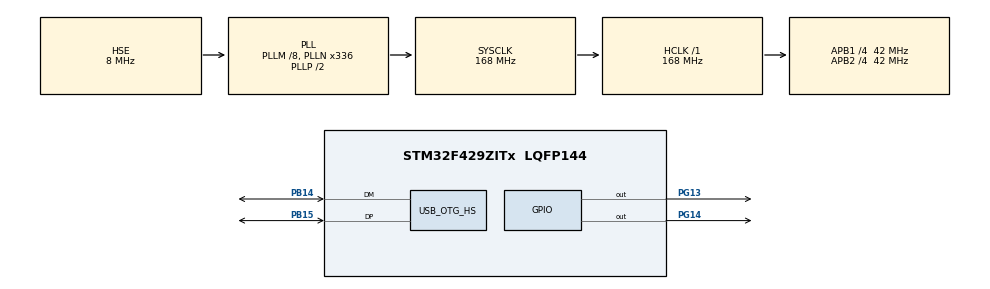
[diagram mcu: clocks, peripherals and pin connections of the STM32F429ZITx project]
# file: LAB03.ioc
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Mcu.Family=STM32F4
Mcu.Name=STM32F429ZITx
Mcu.Package=LQFP144
NVIC.OTG_HS_IRQn=true\:0\:0\:false\:false\:true\:true\:true\:true
NVIC.PriorityGroup=NVIC_PRIORITYGROUP_4
PA13.Mode=Serial_Wire
PA13.Signal=SYS_JTMS-SWDIO
PA14.Mode=Serial_Wire
PA14.Signal=SYS_JTCK-SWCLK
PB14.Mode=Device_Only_FS
PB14.Signal=USB_OTG_HS_DM
PB15.Mode=Device_Only_FS
PB15.Signal=USB_OTG_HS_DP
PG13.GPIO_Speed=GPIO_SPEED_FREQ_HIGH
PG13.Signal=GPIO_Output
PG14.GPIO_Speed=GPIO_SPEED_FREQ_HIGH
PG14.Signal=GPIO_Output
PH0/OSC_IN.Mode=HSE-External-Oscillator
PH0/OSC_IN.Signal=RCC_OSC_IN
PH1/OSC_OUT.Mode=HSE-External-Oscillator
PH1/OSC_OUT.Signal=RCC_OSC_OUT
ProjectManager.HeapSize=0x2000
ProjectManager.StackSize=0x400
ProjectManager.TargetToolchain=STM32CubeIDE
RCC.48MHZClocksFreq_Value=48000000
RCC.AHBFreq_Value=168000000
RCC.APB1CLKDivider=RCC_HCLK_DIV4
RCC.APB1Freq_Value=42000000
RCC.APB1TimFreq_Value=84000000
RCC.APB2CLKDivider=RCC_HCLK_DIV4
RCC.APB2Freq_Value=42000000
RCC.APB2TimFreq_Value=84000000
RCC.CortexFreq_Value=168000000
RCC.HCLKFreq_Value=168000000
RCC.HSE_VALUE=8000000
RCC.HSI_VALUE=16000000
RCC.LSE_VALUE=32768
RCC.PLLM=8
RCC.PLLN=336
RCC.PLLQ=7
RCC.SYSCLKFreq_VALUE=168000000
RCC.SYSCLKSource=RCC_SYSCLKSOURCE_PLLCLK
RCC.VCOOutputFreq_Value=336000000
USB_DEVICE.CLASS_NAME_HS=CDC
USB_DEVICE.VirtualMode-CDC_HS=Cdc
USB_DEVICE.VirtualModeHS=Cdc_HS
USB_OTG_HS.VirtualMode-Device_Only_FS=Device_Only_FS
VP_USB_DEVICE_VS_USB_DEVICE_CDC_HS.Mode=CDC_HS
board=custom

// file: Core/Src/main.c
/* USER CODE BEGIN Header */
/**
  ******************************************************************************
  * @file           : main.c
  * @brief          : Main program body
  ******************************************************************************
  * @attention
  *
  * Copyright (c) 2022 STMicroelectronics.
  * All rights reserved.
  *
  * This software is licensed under terms that can be found in the LICENSE file
  * in the root directory of this software component.
  * If no LICENSE file comes with this software, it is provided AS-IS.
  *
  ******************************************************************************
  */
/* USER CODE END Header */
#include "main.h"
#include "usb_device.h"

/* USER CODE BEGIN Includes */
#include "usbd_cdc_if.h"
#include "stm32f429i_discovery_lcd.h"
#include "stm32f429i_discovery_sdram.h"
#include "string.h"
#include <stdio.h>
/* USER CODE END Includes */

void SystemClock_Config(void);
static void MX_GPIO_Init(void);

/* USER CODE BEGIN 0 */
uint8_t* Rx_buffer;
int flag = 0;
/* USER CODE END 0 */

int main(void)
{

  /* MCU Configuration--------------------------------------------------------*/

  /* Reset of all peripherals, Initializes the Flash interface and the Systick. */
  HAL_Init();

  /* USER CODE BEGIN Init */
  BSP_LCD_Init();
  BSP_SDRAM_Init();
  /* USER CODE END Init */

  /* Configure the system clock */
  SystemClock_Config();

  /* Initialize all configured peripherals */
  MX_GPIO_Init();
  MX_USB_DEVICE_Init();
  /* USER CODE BEGIN 2 */
  BSP_LCD_LayerDefaultInit(1, SDRAM_DEVICE_ADDR);
  BSP_LCD_SelectLayer(1);//select on which layer we write
  BSP_LCD_DisplayOn();//turn on LCD
  BSP_LCD_Clear(LCD_COLOR_BLACK);//clear the LCD on blue s
  BSP_LCD_SetBackColor(LCD_COLOR_BLACK);//set text background color
  BSP_LCD_SetTextColor(LCD_COLOR_WHITE);//set text color

  BSP_LCD_DisplayStringAtLine(1, (uint8_t*) "Good evening, it's too");
  BSP_LCD_DisplayStringAtLine(2, (uint8_t*) "dark here");

  /* USER CODE END 2 */

  /* Infinite loop */
  while (1)
  {

    /* USER CODE BEGIN 3 */
	  if (flag == 1){
		  if (strncmp((const char*) Rx_buffer, "Hello STM", 9) == 0) {
			  BSP_LCD_DisplayStringAtLine(3, (uint8_t*) "Do you want to turn on");
			  BSP_LCD_DisplayStringAtLine(4, (uint8_t*) "light");

		  }
		  if (strncmp((const char*) Rx_buffer, "Turn on LED 3", 13) == 0) {
			  HAL_GPIO_WritePin(GPIOG, GPIO_PIN_13, 1);

		  }
		  if (strncmp((const char*) Rx_buffer, "Turn on LED 4", 13) == 0) {
			  HAL_GPIO_WritePin(GPIOG, GPIO_PIN_14, 1);
		  }
		  if (strncmp((const char*) Rx_buffer, "Turn off LED 3", 14) == 0) {
			  HAL_GPIO_WritePin(GPIOG, GPIO_PIN_13, 0);

		  }
		  if (strncmp((const char*) Rx_buffer, "Turn off LED 4", 14) == 0) {
			  HAL_GPIO_WritePin(GPIOG, GPIO_PIN_14, 0);
		  }
		  if (strncmp((const char*) Rx_buffer, "Good night", 10) == 0) {
			  HAL_GPIO_WritePin(GPIOG, GPIO_PIN_13, 0);
			  HAL_GPIO_WritePin(GPIOG, GPIO_PIN_14, 0);
		  }
	  }
	  flag = 0;
  }
  /* USER CODE END 3 */
}

void SystemClock_Config(void)
{
  RCC_OscInitTypeDef RCC_OscInitStruct = {0};
  RCC_ClkInitTypeDef RCC_ClkInitStruct = {0};

  /** Configure the main internal regulator output voltage
  */
  __HAL_RCC_PWR_CLK_ENABLE();
  __HAL_PWR_VOLTAGESCALING_CONFIG(PWR_REGULATOR_VOLTAGE_SCALE1);

  /** Initializes the RCC Oscillators according to the specified parameters
  * in the RCC_OscInitTypeDef structure.
  */
  RCC_OscInitStruct.OscillatorType = RCC_OSCILLATORTYPE_HSE;
  RCC_OscInitStruct.HSEState = RCC_HSE_ON;
  RCC_OscInitStruct.PLL.PLLState = RCC_PLL_ON;
  RCC_OscInitStruct.PLL.PLLSource = RCC_PLLSOURCE_HSE;
  RCC_OscInitStruct.PLL.PLLM = 8;
  RCC_OscInitStruct.PLL.PLLN = 336;
  RCC_OscInitStruct.PLL.PLLP = RCC_PLLP_DIV2;
  RCC_OscInitStruct.PLL.PLLQ = 7;
  if (HAL_RCC_OscConfig(&RCC_OscInitStruct) != HAL_OK)
  {
    Error_Handler();
  }

  /** Initializes the CPU, AHB and APB buses clocks
  */
  RCC_ClkInitStruct.ClockType = RCC_CLOCKTYPE_HCLK|RCC_CLOCKTYPE_SYSCLK
                              |RCC_CLOCKTYPE_PCLK1|RCC_CLOCKTYPE_PCLK2;
  RCC_ClkInitStruct.SYSCLKSource = RCC_SYSCLKSOURCE_PLLCLK;
  RCC_ClkInitStruct.AHBCLKDivider = RCC_SYSCLK_DIV1;
  RCC_ClkInitStruct.APB1CLKDivider = RCC_HCLK_DIV4;
  RCC_ClkInitStruct.APB2CLKDivider = RCC_HCLK_DIV4;

  if (HAL_RCC_ClockConfig(&RCC_ClkInitStruct, FLASH_LATENCY_5) != HAL_OK)
  {
    Error_Handler();
  }
}

static void MX_GPIO_Init(void)
{
  GPIO_InitTypeDef GPIO_InitStruct = {0};

  /* GPIO Ports Clock Enable */
  __HAL_RCC_GPIOH_CLK_ENABLE();
  __HAL_RCC_GPIOB_CLK_ENABLE();
  __HAL_RCC_GPIOA_CLK_ENABLE();
  __HAL_RCC_GPIOG_CLK_ENABLE();

  /*Configure GPIO pin Output Level */
  HAL_GPIO_WritePin(GPIOG, GPIO_PIN_13|GPIO_PIN_14, GPIO_PIN_RESET);

  /*Configure GPIO pins : PG13 PG14 */
  GPIO_InitStruct.Pin = GPIO_PIN_13|GPIO_PIN_14;
  GPIO_InitStruct.Mode = GPIO_MODE_OUTPUT_PP;
  GPIO_InitStruct.Pull = GPIO_NOPULL;
  GPIO_InitStruct.Speed = GPIO_SPEED_FREQ_HIGH;
  HAL_GPIO_Init(GPIOG, &GPIO_InitStruct);

}

void Error_Handler(void)
{
  __disable_irq();
  while (1)
  {
  }
}
